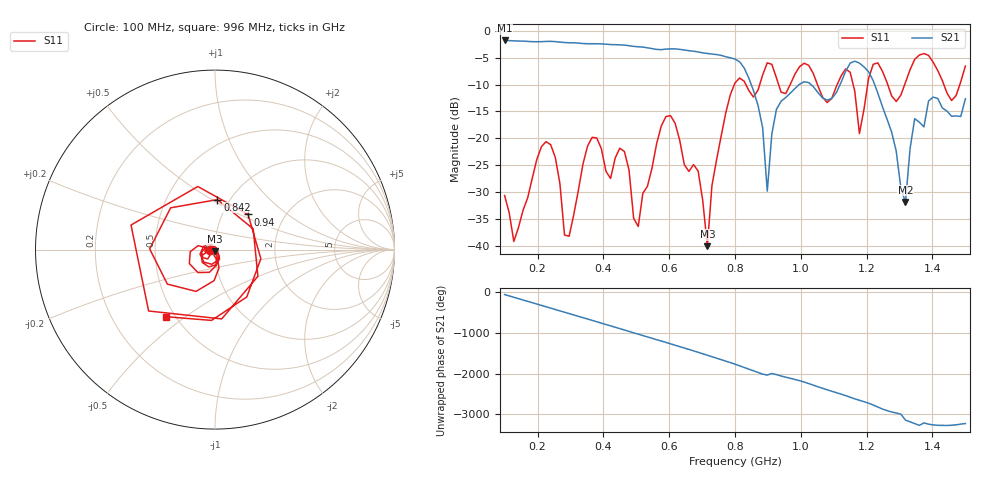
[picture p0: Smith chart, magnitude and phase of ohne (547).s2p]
! NanoVNA-App
! Date: 2025-09-25 14:25:03
! Start: 100MHz Stop: 1,5GHz Points: 101
! S-Parameter data: F S11 S21 S12 S22
# Hz S RI R 50
!  Frequency  S11_Real  S11_Imag  S21_Real  S21_Imag  S12_Real  S12_Imag  S22_Real  S22_Imag
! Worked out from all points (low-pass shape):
!   101 points, 100 MHz to 1.5 GHz, reference 50 ohm
!   highest |S21| = -1.79 dB at 100 MHz (marker M1); lowest = -31.8 dB at 1.318 GHz (marker M2)
!   |S21| within 3 dB of the highest: start of sweep to 770.6 MHz
!   lowest |S11| = -40.0 dB at 716 MHz (marker M3), VSWR 1.02, Z = 49.8 - j0.965 ohm
!   |S11| at or under -10 dB: start of sweep to 798 MHz; 833.1 MHz to 875.1 MHz (41.99 MHz wide, 4.92 % of centre); 1.051 GHz to 1.111 GHz (59.95 MHz wide, 5.55 % of centre) (the widest 3 of 7)
!   S12 and S22 are empty: the file has one direction only
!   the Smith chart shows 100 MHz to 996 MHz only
!   S11 on the Smith chart (normalised r, x): 100 MHz: 0.94, -0.01; 842 MHz: 0.88, +0.53; 940 MHz: 1.32, +0.56; 996 MHz: 0.45, -0.42
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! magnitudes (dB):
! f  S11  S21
! 100 MHz  -30.6  -1.8
! 128 MHz  -39.2  -1.9
! 226 MHz  -20.6  -2.0
! 296 MHz  -38.2  -2.2
! 338 MHz  -24.8  -2.4
! 464 MHz  -22.4  -2.7
! 506 MHz  -36.4  -3.0
! 576 MHz  -17.7  -3.5
! 688 MHz  -26.1  -3.9
! 716 MHz  -40.0  -4.2
! 800 MHz  -9.7  -5.3
! 842 MHz  -11.1  -8.8
! 898 MHz  -6.0  -29.8
! 940 MHz  -11.4  -13.1
! 996 MHz  -6.7  -9.9
! 1.038 GHz  -8.0  -10.4
! 1.178 GHz  -19.1  -6.0
! 1.22 GHz  -6.2  -9.3
! 1.276 GHz  -12.1  -18.8
! 1.318 GHz  -9.6  -31.8
! 1.346 GHz  -5.3  -16.3
! 1.5 GHz  -6.6  -12.6
